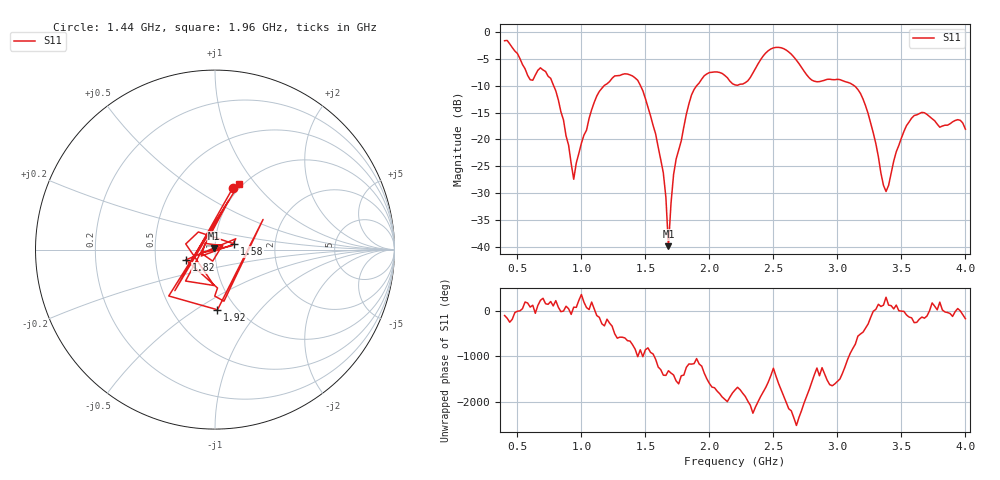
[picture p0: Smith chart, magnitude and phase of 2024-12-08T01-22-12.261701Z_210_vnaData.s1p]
!Created with skrf (http://scikit-rf.org).
# Hz S RI R 50.0
!freq ReS11 ImS11
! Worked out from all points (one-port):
!   181 points, 400 MHz to 4 GHz, reference 50 ohm
!   lowest |S11| = -39.9 dB at 1.68 GHz (marker M1), VSWR 1.02, Z = 49.4 + j0.828 ohm
!   |S11| at or under -10 dB: 783.2 MHz to 1.177 GHz (394 MHz wide, 40.2 % of centre); 1.462 GHz to 1.9 GHz (438.3 MHz wide, 26.1 % of centre); 3.131 GHz to end of sweep
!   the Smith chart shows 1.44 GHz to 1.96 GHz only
!   S11 on the Smith chart (normalised r, x): 1.44 GHz: 0.94, +0.74; 1.58 GHz: 1.24, +0.08; 1.82 GHz: 0.72, -0.08; 1.92 GHz: 0.82, -0.62; 1.96 GHz: 0.96, +0.83
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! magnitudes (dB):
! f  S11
! 400 MHz  -1.6
! 600 MHz  -8.9
! 680 MHz  -6.7
! 760 MHz  -8.6
! 860 MHz  -16.4
! 940 MHz  -27.4
! 1.12 GHz  -11.9
! 1.3 GHz  -8.1
! 1.44 GHz  -9.0
! 1.58 GHz  -19.0
! 1.64 GHz  -26.3
! 1.66 GHz  -30.8
! 1.68 GHz  -39.9
! 1.72 GHz  -26.6
! 1.76 GHz  -22.0
! 1.82 GHz  -15.3
! 1.92 GHz  -9.5
! 1.96 GHz  -8.1
! 2.2 GHz  -9.8
! 2.48 GHz  -3.1
! 2.66 GHz  -4.7
! 2.8 GHz  -8.9
! 3.1 GHz  -9.5
! 3.22 GHz  -13.7
! 3.38 GHz  -29.7
! 3.56 GHz  -16.8
! 3.66 GHz  -15.0
! 4 GHz  -18.1
